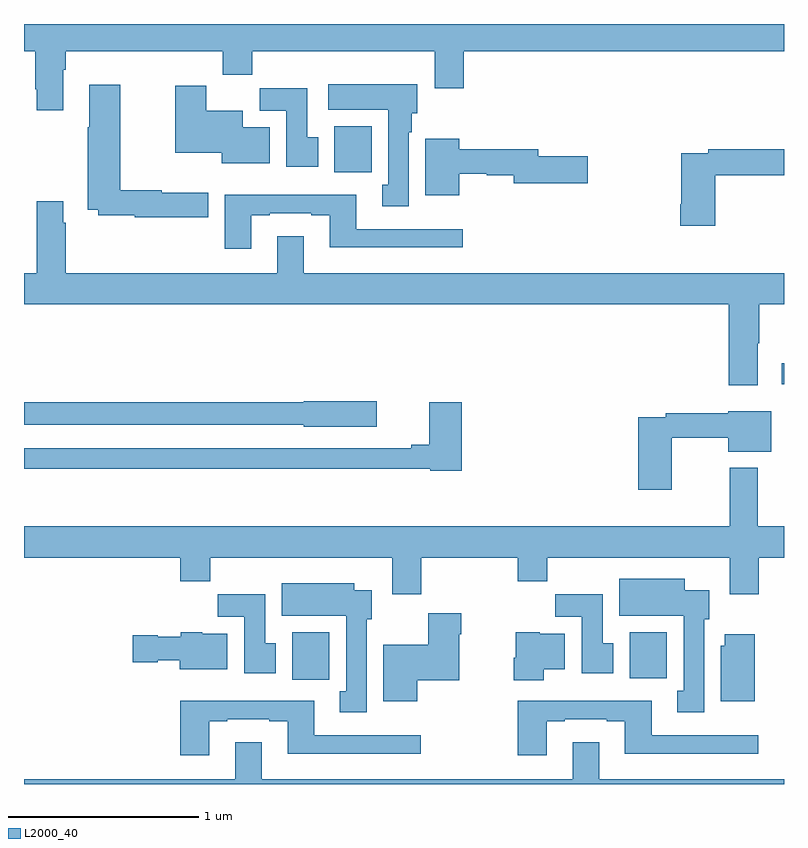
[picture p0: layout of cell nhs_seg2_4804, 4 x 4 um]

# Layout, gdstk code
import gdstk
lib = gdstk.Library(unit=1e-6, precision=1e-09)
def R(c, l, rs):  # rectangles x0, y0, x1, y1
    for r in rs: c.add(gdstk.rectangle(r[:2], r[2:], *l))
def P(c, l, *ps):  # polygons
    for p in ps: c.add(gdstk.Polygon(p, *l))
L2000_40 = (2000, 40)

nhs_seg2_4804 = lib.new_cell('nhs_seg2_4804')
R(nhs_seg2_4804, L2000_40, [(374.411,624.348,374.607,624.598), (376.187,624.356,376.384,624.598), (376.989,625.904,377,626.014), (374.633,627.02,374.83,627.262)])
P(nhs_seg2_4804, L2000_40, [(373,627.656),(373.06,627.656),(373.06,627.457),(373.067,627.457),(373.067,627.345),(373.207,627.345),(373.207,627.56),(373.22,627.56),(373.22,627.656),(374.045,627.656),(374.045,627.532),(374.201,627.532),(374.201,627.656),(375.161,627.656),(375.161,627.462),(375.314,627.462),(375.314,627.656),(377,627.656),(377,627.8),(373,627.8)],
  [(375.025,627.23),(375.04,627.23),(375.04,627.33),(375.07,627.33),(375.07,627.484),(374.601,627.484),(374.601,627.35),(374.918,627.35),(374.918,626.954),(374.885,626.954),(374.885,626.841),(375.025,626.841)],
  [(373.969,626.911),(373.725,626.911),(373.725,626.924),(373.506,626.924),(373.506,627.481),(373.343,627.481),(373.343,627.257),(373.336,627.257),(373.336,626.822),(373.392,626.822),(373.392,626.794),(373.584,626.794),(373.584,626.782),(373.969,626.782)],
  [(374.293,627.256),(374.152,627.256),(374.152,627.343),(373.96,627.343),(373.96,627.475),(373.795,627.475),(373.795,627.122),(374.042,627.122),(374.042,627.068),(374.293,627.068)],
  [(374.548,627.204),(374.491,627.204),(374.491,627.463),(374.242,627.463),(374.242,627.344),(374.381,627.344),(374.381,627.048),(374.548,627.048)],
  [(375.292,627.012),(375.435,627.012),(375.435,627.004),(375.578,627.004),(375.578,626.962),(375.967,626.962),(375.967,627.104),(375.706,627.104),(375.706,627.14),(375.292,627.14),(375.292,627.196),(375.113,627.196),(375.113,626.9),(375.292,626.9)],
  [(376.637,627.004),(377,627.004),(377,627.14),(376.6,627.14),(376.6,627.12),(376.459,627.12),(376.459,626.851),(376.454,626.851),(376.454,626.739),(376.637,626.739)],
  [(374.197,626.793),(374.293,626.793),(374.293,626.805),(374.513,626.805),(374.513,626.793),(374.609,626.793),(374.609,626.624),(375.31,626.624),(375.31,626.721),(374.749,626.721),(374.749,626.902),(374.057,626.902),(374.057,626.616),(374.197,626.616)],
  [(376.861,626.12),(376.869,626.12),(376.869,626.324),(377,626.324),(377,626.488),(374.473,626.488),(374.473,626.683),(374.333,626.683),(374.333,626.488),(373.22,626.488),(373.22,626.753),(373.207,626.753),(373.207,626.866),(373.067,626.866),(373.067,626.488),(373,626.488),(373,626.324),(376.709,626.324),(376.709,625.899),(376.861,625.899)],
  [(374.857,625.814),(374.472,625.814),(374.472,625.808),(373,625.808),(373,625.692),(374.472,625.692),(374.472,625.679),(374.857,625.679)],
  [(375.305,625.81),(375.134,625.81),(375.134,625.586),(375.038,625.586),(375.038,625.566),(373,625.566),(373,625.458),(375.138,625.458),(375.138,625.45),(375.305,625.45)],
  [(376.41,625.623),(376.706,625.623),(376.706,625.55),(376.933,625.55),(376.933,625.762),(376.706,625.762),(376.706,625.751),(376.378,625.751),(376.378,625.731),(376.232,625.731),(376.232,625.35),(376.41,625.35)],
  [(375.092,624.992),(375.599,624.992),(375.599,624.868),(375.755,624.868),(375.755,624.992),(376.715,624.992),(376.715,624.798),(376.868,624.798),(376.868,624.992),(377,624.992),(377,625.156),(376.861,625.156),(376.861,625.465),(376.714,625.465),(376.714,625.156),(373,625.156),(373,624.992),(373.823,624.992),(373.823,624.868),(373.979,624.868),(373.979,624.992),(374.939,624.992),(374.939,624.798),(375.092,624.798)],
  [(376.579,624.666),(376.606,624.666),(376.606,624.82),(376.477,624.82),(376.477,624.88),(376.133,624.88),(376.133,624.686),(376.472,624.686),(376.472,624.29),(376.439,624.29),(376.439,624.177),(376.579,624.177)],
  [(374.803,624.666),(374.83,624.666),(374.83,624.82),(374.737,624.82),(374.737,624.856),(374.357,624.856),(374.357,624.686),(374.696,624.686),(374.696,624.289),(374.663,624.289),(374.663,624.177),(374.803,624.177)],
  [(374.326,624.54),(374.269,624.54),(374.269,624.798),(374.02,624.798),(374.02,624.68),(374.159,624.68),(374.159,624.384),(374.326,624.384)],
  [(376.102,624.54),(376.045,624.54),(376.045,624.798),(375.796,624.798),(375.796,624.68),(375.935,624.68),(375.935,624.384),(376.102,624.384)],
  [(375.07,624.347),(375.292,624.347),(375.292,624.587),(375.3,624.587),(375.3,624.7),(375.127,624.7),(375.127,624.532),(374.891,624.532),(374.891,624.236),(375.07,624.236)],
  [(375.736,624.404),(375.847,624.404),(375.847,624.592),(375.714,624.592),(375.714,624.598),(375.589,624.598),(375.589,624.465),(375.578,624.465),(375.578,624.347),(375.736,624.347)],
  [(374.071,624.592),(373.938,624.592),(373.938,624.598),(373.824,624.598),(373.824,624.574),(373.704,624.574),(373.704,624.582),(373.572,624.582),(373.572,624.44),(373.704,624.44),(373.704,624.452),(373.82,624.452),(373.82,624.404),(374.071,624.404)],
  [(376.846,624.589),(376.688,624.589),(376.688,624.528),(376.667,624.528),(376.667,624.236),(376.846,624.236)],
  [(375.751,624.129),(375.847,624.129),(375.847,624.141),(376.067,624.141),(376.067,624.129),(376.163,624.129),(376.163,623.96),(376.864,623.96),(376.864,624.057),(376.303,624.057),(376.303,624.238),(375.599,624.238),(375.599,623.952),(375.751,623.952)],
  [(373.975,624.129),(374.071,624.129),(374.071,624.141),(374.291,624.141),(374.291,624.129),(374.387,624.129),(374.387,623.96),(375.088,623.96),(375.088,624.057),(374.527,624.057),(374.527,624.238),(373.823,624.238),(373.823,623.952),(373.975,623.952)],
  [(377,623.824),(376.027,623.824),(376.027,624.019),(375.887,624.019),(375.887,623.824),(374.251,623.824),(374.251,624.019),(374.111,624.019),(374.111,623.824),(373,623.824),(373,623.8),(377,623.8)])

lib.write_gds('nhs_seg2_4804.gds')
